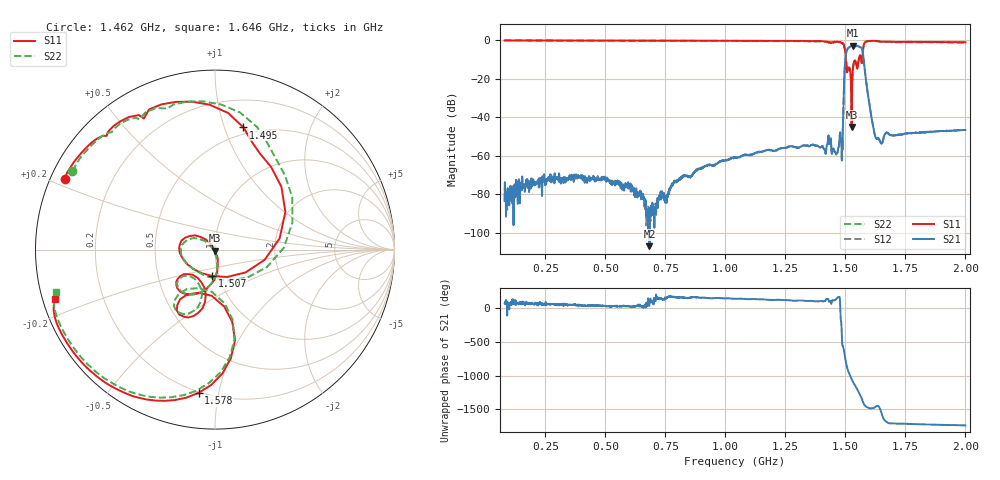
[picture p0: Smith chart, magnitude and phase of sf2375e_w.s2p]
!Agilent Technologies,E5071C,MY46104547,A.08.12
!Date: Tue Nov 21 09:33:06 2017
!Data & Calibration Information:
!Freq	S11:SOLT2(ON)	S21:SOLT2(ON)	S12:SOLT2(ON)	S22:SOLT2(ON)
# Hz S dB R 50
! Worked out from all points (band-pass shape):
!   1601 points, 80 MHz to 2 GHz, reference 50 ohm
!   highest |S21| = -2.79 dB at 1.53 GHz (marker M1); lowest = -106.9 dB at 683.6 MHz (marker M2)
!   |S21| within 3 dB of the highest: 1.504 GHz to 1.572 GHz (67.88 MHz wide, 4.41 % of centre)
!   lowest |S11| = -45.0 dB at 1.526 GHz (marker M3), VSWR 1.01, Z = 49.8 - j0.529 ohm
!   |S11| at or under -10 dB: 1.503 GHz to 1.555 GHz (52.81 MHz wide, 3.45 % of centre); 1.566154 GHz to 1.570307 GHz (4.152 MHz wide, 0.265 % of centre)
!   |S22| runs from -40.8 to 0.0 dB; largest |S21 - S12| = 0.00085
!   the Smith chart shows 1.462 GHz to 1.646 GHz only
!   S11 on the Smith chart (normalised r, x): 1.462 GHz: 0.04, +0.22; 1.495 GHz: 0.44, +1.16; 1.507 GHz: 0.93, -0.28; 1.578 GHz: 0.19, -0.87; 1.646 GHz: 0.04, -0.15
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8e7  -0.01 -10.3  -83.46 68.2  -83.29 72.9  -0.01 -10.4
4.004e8  -0.05 -50.6  -70.46 45.4  -70.77 44.2  -0.07 -51.3
6.836e8  -0.08 -85.1  -106.93 44.2  -90.35 60.3  -0.14 -86.3
7.208e8  -0.07 -89.5  -82.09 146.0  -82.91 135.7  -0.13 -90.8
1.04e9  -0.13 -127.1  -60.89 136.0  -60.72 136.0  -0.24 -128.9
1.3604e9  -0.37 -170.8  -54.41 103.6  -54.37 103.4  -0.53 -173.8
1.4312e9  -0.90 170.2  -50.83 95.7  -50.81 95.3  -1.27 166.6
1.4624e9  -0.68 155.0  -58.73 137.5  -58.73 137.8  -0.83 151.2
1.4816e9  -1.00 129.3  -51.83 164.0  -51.79 164.3  -1.18 124.1
1.4948e9  -3.11 76.9  -21.14 72.3  -21.17 72.2  -2.82 71.2
1.5068e9  -16.62 -96.1  -4.80 -156.4  -4.79 -156.4  -15.80 -89.0
1.5176e9  -14.28 164.9  -3.38 94.2  -3.38 94.1  -14.59 172.4
1.526e9  -44.97 -109.7  -2.83 28.5  -2.83 28.5  -40.78 -146.8
1.5296e9  -18.02 -84.8  -2.79 2.5  -2.78 2.6  -18.42 -84.6
1.5428e9  -11.04 -140.3  -3.04 -82.1  -3.04 -82.0  -11.04 -138.8
1.556e9  -9.56 -101.9  -3.16 -168.6  -3.16 -168.6  -9.54 -106.5
1.5656e9  -9.41 -125.1  -3.68 123.9  -3.68 123.9  -9.89 -129.2
1.5776e9  -1.90 -96.5  -11.65 14.0  -11.66 14.1  -2.00 -97.7
1.6172e9  -0.22 -149.9  -45.76 -40.9  -45.72 -40.8  -0.36 -152.1
1.646e9  -0.60 -162.8  -53.03 -67.8  -53.06 -67.8  -0.75 -165.1
1.6808e9  -0.63 -169.8  -48.61 94.4  -48.62 94.2  -0.79 -172.3
2e9  -0.95 151.1  -46.56 61.4  -46.60 61.5  -1.16 147.7
